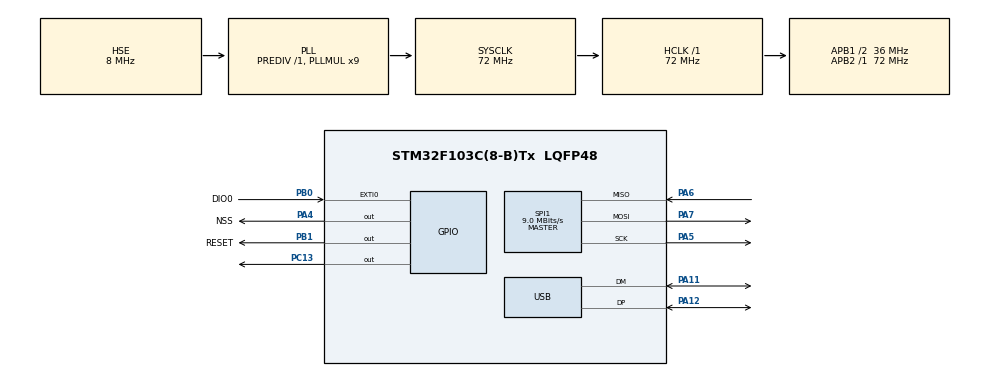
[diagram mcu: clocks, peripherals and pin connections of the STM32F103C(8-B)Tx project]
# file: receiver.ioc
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Mcu.Family=STM32F1
Mcu.Name=STM32F103C(8-B)Tx
Mcu.Package=LQFP48
NVIC.PriorityGroup=NVIC_PRIORITYGROUP_4
NVIC.USB_LP_CAN1_RX0_IRQn=true\:0\:0\:false\:false\:true\:false\:true\:true
PA11.Mode=Device
PA11.Signal=USB_DM
PA12.Mode=Device
PA12.Signal=USB_DP
PA13.Mode=Serial_Wire
PA13.Signal=SYS_JTMS-SWDIO
PA14.Mode=Serial_Wire
PA14.Signal=SYS_JTCK-SWCLK
PA4.GPIO_Label=NSS
PA4.PinState=GPIO_PIN_SET
PA4.Signal=GPIO_Output
PA5.Mode=Full_Duplex_Master
PA5.Signal=SPI1_SCK
PA6.Mode=Full_Duplex_Master
PA6.Signal=SPI1_MISO
PA7.Mode=Full_Duplex_Master
PA7.Signal=SPI1_MOSI
PB0.GPIO_Label=DIO0
PB0.Signal=GPXTI0
PB1.GPIO_Label=RESET
PB1.PinState=GPIO_PIN_SET
PB1.Signal=GPIO_Output
PC13-TAMPER-RTC.Signal=GPIO_Output
PD0-OSC_IN.Mode=HSE-External-Oscillator
PD0-OSC_IN.Signal=RCC_OSC_IN
PD1-OSC_OUT.Mode=HSE-External-Oscillator
PD1-OSC_OUT.Signal=RCC_OSC_OUT
ProjectManager.HeapSize=0x200
ProjectManager.StackSize=0x400
ProjectManager.TargetToolchain=STM32CubeIDE
RCC.AHBFreq_Value=72000000
RCC.APB1CLKDivider=RCC_HCLK_DIV2
RCC.APB1Freq_Value=36000000
RCC.APB1TimFreq_Value=72000000
RCC.APB2Freq_Value=72000000
RCC.APB2TimFreq_Value=72000000
RCC.HCLKFreq_Value=72000000
RCC.PLLMUL=RCC_PLL_MUL9
RCC.SYSCLKFreq_VALUE=72000000
RCC.SYSCLKSource=RCC_SYSCLKSOURCE_PLLCLK
RCC.USBFreq_Value=48000000
RCC.USBPrescaler=RCC_USBCLKSOURCE_PLL_DIV1_5
SPI1.BaudRatePrescaler=SPI_BAUDRATEPRESCALER_8
SPI1.CalculateBaudRate=9.0 MBits/s
SPI1.Direction=SPI_DIRECTION_2LINES
SPI1.Mode=SPI_MODE_MASTER
SPI1.VirtualType=VM_MASTER
USB_DEVICE.CLASS_NAME_FS=CDC
USB_DEVICE.VirtualMode=Cdc
USB_DEVICE.VirtualModeFS=Cdc_FS
VP_USB_DEVICE_VS_USB_DEVICE_CDC_FS.Mode=CDC_FS
board=custom

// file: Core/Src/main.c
/* USER CODE BEGIN Header */
/**
  ******************************************************************************
  * @file           : main.c
  * @brief          : Main program body
  ******************************************************************************
  * @attention
  *
  * Copyright (c) 2022 STMicroelectronics.
  * All rights reserved.
  *
  * This software is licensed under terms that can be found in the LICENSE file
  * in the root directory of this software component.
  * If no LICENSE file comes with this software, it is provided AS-IS.
  *
  ******************************************************************************
  */
/* USER CODE END Header */
#include "main.h"
#include "spi.h"
#include "usb_device.h"
#include "gpio.h"
#include "stm32f1xx_hal.h"

/* USER CODE BEGIN Includes */
#include "usbd_cdc_if.h"
#include <stdio.h>
#include "SX1278.h"
#include "string.h"
/* USER CODE END Includes */

void SystemClock_Config(void);
/* USER CODE BEGIN PFP */
int _write(int file, char *ptr, int len) {
	int i;
	for (i = 0; i < len; i++) {
		ITM_SendChar(*ptr++);
	}
	return len;
}
/* USER CODE END PFP */

SX1278_hw_t SX1278_hw;
SX1278_t SX1278;

int master;
int ret;

uint8_t buffer[1024];

int message;
int message_length;
int main(void)
{

  /* MCU Configuration--------------------------------------------------------*/

  /* Reset of all peripherals, Initializes the Flash interface and the Systick. */
  HAL_Init();

  /* Configure the system clock */
  SystemClock_Config();

  /* Initialize all configured peripherals */
  MX_GPIO_Init();
  MX_USB_DEVICE_Init();
  MX_SPI1_Init();
  MX_USB_DEVICE_Init();
  /* USER CODE BEGIN 2 */
  	SX1278_hw.dio0.port = DIO0_GPIO_Port;
  	SX1278_hw.dio0.pin = DIO0_Pin;
  	SX1278_hw.nss.port = NSS_GPIO_Port;
  	SX1278_hw.nss.pin = NSS_Pin;
  	SX1278_hw.reset.port = RESET_GPIO_Port;
  	SX1278_hw.reset.pin = RESET_Pin;
  	SX1278_hw.spi = &hspi1;

  	SX1278.hw = &SX1278_hw;

  	SX1278_begin(&SX1278, SX1278_433MHZ, SX1278_POWER_17DBM, SX1278_LORA_SF_8,
  				SX1278_LORA_BW_20_8KHZ, 10);

  	ret = SX1278_LoRaEntryRx(&SX1278, 1024, 750);
  /* USER CODE END 2 */

  /* Infinite loop */
  /* USER CODE BEGIN WHILE */
  while (1)
  {
	ret = SX1278_LoRaRxPacket(&SX1278);

	if (ret > 0) {
		HAL_GPIO_TogglePin(GPIOC, GPIO_PIN_13);
		SX1278_read(&SX1278, (uint8_t *) buffer, ret);
		CDC_Transmit_FS((uint8_t *)buffer, strlen((char*)buffer));
//		ret = SX1278_LoRaEntryRx(&SX1278, 1024, 750);
	}
	memset(buffer, 0, 1024);
	HAL_Delay(25);

	  // printf("Slave ...\r\n");

	  // printf("Received: %d\r\n", ret);

//	  ret = SX1278_LoRaRxPacket(&SX1278);
//
//	  if (ret > 0) {
//		  HAL_GPIO_TogglePin(GPIOC, GPIO_PIN_13);
//		  // SX1278_read(&SX1278, (uint8_t *) buffer, ret);
//		  // CDC_Transmit_FS((uint8_t *)"İlki geldi\n", 11);
//
//		  HAL_Delay(200);
//		  ret = SX1278_LoRaRxPacket(&SX1278);
//		  SX1278_read(&SX1278, (uint8_t *) buffer, ret);
//
//	  	  // printf("Content (%d): %s\r\n", ret, buffer);
//	  	  CDC_Transmit_FS((uint8_t *)"İki geldi\n", strlen((char*)10));
//	  	  ret = SX1278_LoRaEntryRx(&SX1278, 45, 500);
//	  }
//	  // printf("Package received ...\r\n");
//
//	  HAL_Delay(200);
    /* USER CODE END WHILE */

  }
}

void SystemClock_Config(void)
{
  RCC_OscInitTypeDef RCC_OscInitStruct = {0};
  RCC_ClkInitTypeDef RCC_ClkInitStruct = {0};
  RCC_PeriphCLKInitTypeDef PeriphClkInit = {0};

  /** Initializes the RCC Oscillators according to the specified parameters
  * in the RCC_OscInitTypeDef structure.
  */
  RCC_OscInitStruct.OscillatorType = RCC_OSCILLATORTYPE_HSE;
  RCC_OscInitStruct.HSEState = RCC_HSE_ON;
  RCC_OscInitStruct.HSEPredivValue = RCC_HSE_PREDIV_DIV1;
  RCC_OscInitStruct.HSIState = RCC_HSI_ON;
  RCC_OscInitStruct.PLL.PLLState = RCC_PLL_ON;
  RCC_OscInitStruct.PLL.PLLSource = RCC_PLLSOURCE_HSE;
  RCC_OscInitStruct.PLL.PLLMUL = RCC_PLL_MUL9;
  if (HAL_RCC_OscConfig(&RCC_OscInitStruct) != HAL_OK)
  {
    Error_Handler();
  }

  /** Initializes the CPU, AHB and APB buses clocks
  */
  RCC_ClkInitStruct.ClockType = RCC_CLOCKTYPE_HCLK|RCC_CLOCKTYPE_SYSCLK
                              |RCC_CLOCKTYPE_PCLK1|RCC_CLOCKTYPE_PCLK2;
  RCC_ClkInitStruct.SYSCLKSource = RCC_SYSCLKSOURCE_PLLCLK;
  RCC_ClkInitStruct.AHBCLKDivider = RCC_SYSCLK_DIV1;
  RCC_ClkInitStruct.APB1CLKDivider = RCC_HCLK_DIV2;
  RCC_ClkInitStruct.APB2CLKDivider = RCC_HCLK_DIV1;

  if (HAL_RCC_ClockConfig(&RCC_ClkInitStruct, FLASH_LATENCY_2) != HAL_OK)
  {
    Error_Handler();
  }
  PeriphClkInit.PeriphClockSelection = RCC_PERIPHCLK_USB;
  PeriphClkInit.UsbClockSelection = RCC_USBCLKSOURCE_PLL_DIV1_5;
  if (HAL_RCCEx_PeriphCLKConfig(&PeriphClkInit) != HAL_OK)
  {
    Error_Handler();
  }
}

void Error_Handler(void)
{
  __disable_irq();
  while (1)
  {
  }
}
